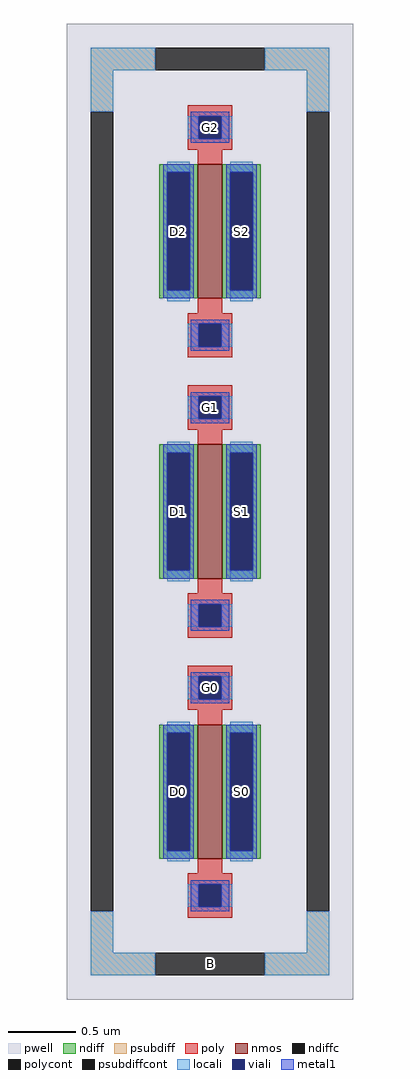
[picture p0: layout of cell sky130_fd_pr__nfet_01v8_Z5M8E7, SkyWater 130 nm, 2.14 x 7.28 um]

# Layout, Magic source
magic
tech sky130A
magscale 1 2
<< pwell >>
rect -214 -728 214 728
<< nmos >>
rect -18 318 18 518
rect -18 -100 18 100
rect -18 -518 18 -318
<< ndiff >>
rect -76 506 -18 518
rect -76 330 -64 506
rect -30 330 -18 506
rect -76 318 -18 330
rect 18 506 76 518
rect 18 330 30 506
rect 64 330 76 506
rect 18 318 76 330
rect -76 88 -18 100
rect -76 -88 -64 88
rect -30 -88 -18 88
rect -76 -100 -18 -88
rect 18 88 76 100
rect 18 -88 30 88
rect 64 -88 76 88
rect 18 -100 76 -88
rect -76 -330 -18 -318
rect -76 -506 -64 -330
rect -30 -506 -18 -330
rect -76 -518 -18 -506
rect 18 -330 76 -318
rect 18 -506 30 -330
rect 64 -506 76 -330
rect 18 -518 76 -506
<< ndiffc >>
rect -64 330 -30 506
rect 30 330 64 506
rect -64 -88 -30 88
rect 30 -88 64 88
rect -64 -506 -30 -330
rect 30 -506 64 -330
<< psubdiff >>
rect -178 658 -82 692
rect 82 658 178 692
rect -178 596 -144 658
rect 144 596 178 658
rect -178 -658 -144 -596
rect 144 -658 178 -596
rect -178 -692 -82 -658
rect 82 -692 178 -658
<< psubdiffcont >>
rect -82 658 82 692
rect -178 -596 -144 596
rect 144 -596 178 596
rect -82 -692 82 -658
<< poly >>
rect -33 590 33 606
rect -33 556 -17 590
rect 17 556 33 590
rect -33 540 33 556
rect -18 518 18 540
rect -18 296 18 318
rect -33 280 33 296
rect -33 246 -17 280
rect 17 246 33 280
rect -33 230 33 246
rect -33 172 33 188
rect -33 138 -17 172
rect 17 138 33 172
rect -33 122 33 138
rect -18 100 18 122
rect -18 -122 18 -100
rect -33 -138 33 -122
rect -33 -172 -17 -138
rect 17 -172 33 -138
rect -33 -188 33 -172
rect -33 -246 33 -230
rect -33 -280 -17 -246
rect 17 -280 33 -246
rect -33 -296 33 -280
rect -18 -318 18 -296
rect -18 -540 18 -518
rect -33 -556 33 -540
rect -33 -590 -17 -556
rect 17 -590 33 -556
rect -33 -606 33 -590
<< polycont >>
rect -17 556 17 590
rect -17 246 17 280
rect -17 138 17 172
rect -17 -172 17 -138
rect -17 -280 17 -246
rect -17 -590 17 -556
<< locali >>
rect -178 658 -82 692
rect 82 658 178 692
rect -178 596 -144 658
rect 144 596 178 658
rect -33 556 -17 590
rect 17 556 33 590
rect -64 506 -30 522
rect -64 314 -30 330
rect 30 506 64 522
rect 30 314 64 330
rect -33 246 -17 280
rect 17 246 33 280
rect -33 138 -17 172
rect 17 138 33 172
rect -64 88 -30 104
rect -64 -104 -30 -88
rect 30 88 64 104
rect 30 -104 64 -88
rect -33 -172 -17 -138
rect 17 -172 33 -138
rect -33 -280 -17 -246
rect 17 -280 33 -246
rect -64 -330 -30 -314
rect -64 -522 -30 -506
rect 30 -330 64 -314
rect 30 -522 64 -506
rect -33 -590 -17 -556
rect 17 -590 33 -556
rect -178 -658 -144 -596
rect 144 -658 178 -596
rect -178 -692 -82 -658
rect 82 -692 178 -658
<< viali >>
rect -17 556 17 590
rect -64 330 -30 506
rect 30 330 64 506
rect -17 246 17 280
rect -17 138 17 172
rect -64 -88 -30 88
rect 30 -88 64 88
rect -17 -172 17 -138
rect -17 -280 17 -246
rect -64 -506 -30 -330
rect 30 -506 64 -330
rect -17 -590 17 -556
<< metal1 >>
rect -29 590 29 596
rect -29 556 -17 590
rect 17 556 29 590
rect -29 550 29 556
rect -70 506 -24 518
rect -70 330 -64 506
rect -30 330 -24 506
rect -70 318 -24 330
rect 24 506 70 518
rect 24 330 30 506
rect 64 330 70 506
rect 24 318 70 330
rect -29 280 29 286
rect -29 246 -17 280
rect 17 246 29 280
rect -29 240 29 246
rect -29 172 29 178
rect -29 138 -17 172
rect 17 138 29 172
rect -29 132 29 138
rect -70 88 -24 100
rect -70 -88 -64 88
rect -30 -88 -24 88
rect -70 -100 -24 -88
rect 24 88 70 100
rect 24 -88 30 88
rect 64 -88 70 88
rect 24 -100 70 -88
rect -29 -138 29 -132
rect -29 -172 -17 -138
rect 17 -172 29 -138
rect -29 -178 29 -172
rect -29 -246 29 -240
rect -29 -280 -17 -246
rect 17 -280 29 -246
rect -29 -286 29 -280
rect -70 -330 -24 -318
rect -70 -506 -64 -330
rect -30 -506 -24 -330
rect -70 -518 -24 -506
rect 24 -330 70 -318
rect 24 -506 30 -330
rect 64 -506 70 -330
rect 24 -518 70 -506
rect -29 -556 29 -550
rect -29 -590 -17 -556
rect 17 -590 29 -556
rect -29 -596 29 -590
<< labels >>
rlabel psubdiffcont 0 -675 0 -675 0 B
port 1 nsew
rlabel ndiffc -47 -418 -47 -418 0 D0
port 2 nsew
rlabel ndiffc 47 -418 47 -418 0 S0
port 3 nsew
rlabel polycont 0 -263 0 -263 0 G0
port 4 nsew
rlabel ndiffc -47 0 -47 0 0 D1
port 5 nsew
rlabel ndiffc 47 0 47 0 0 S1
port 6 nsew
rlabel polycont 0 155 0 155 0 G1
port 7 nsew
rlabel ndiffc -47 418 -47 418 0 D2
port 8 nsew
rlabel ndiffc 47 418 47 418 0 S2
port 9 nsew
rlabel polycont 0 573 0 573 0 G2
port 10 nsew
<< properties >>
string FIXED_BBOX -161 -675 161 675
string gencell sky130_fd_pr__nfet_01v8
string library sky130
string parameters w 1 l 0.18 m 3 nf 1 diffcov 100 polycov 100 guard 1 glc 1 grc 1 gtc 1 gbc 1 tbcov 100 rlcov 100 topc 1 botc 1 poverlap 0 doverlap 1 lmin 0.15 wmin 0.42 class mosfet compatible {sky130_fd_pr__nfet_01v8 sky130_fd_pr__nfet_01v8_lvt  sky130_fd_bs_flash__special_sonosfet_star  sky130_fd_pr__nfet_g5v0d10v5 sky130_fd_pr__nfet_05v0_nvt  sky130_fd_pr__nfet_03v3_nvt} full_metal 1 conn_gates 0 viasrc 100 viadrn 100 viagate 100 viagb 0 viagr 0 viagl 0 viagt 0 doports 1
<< end >>
